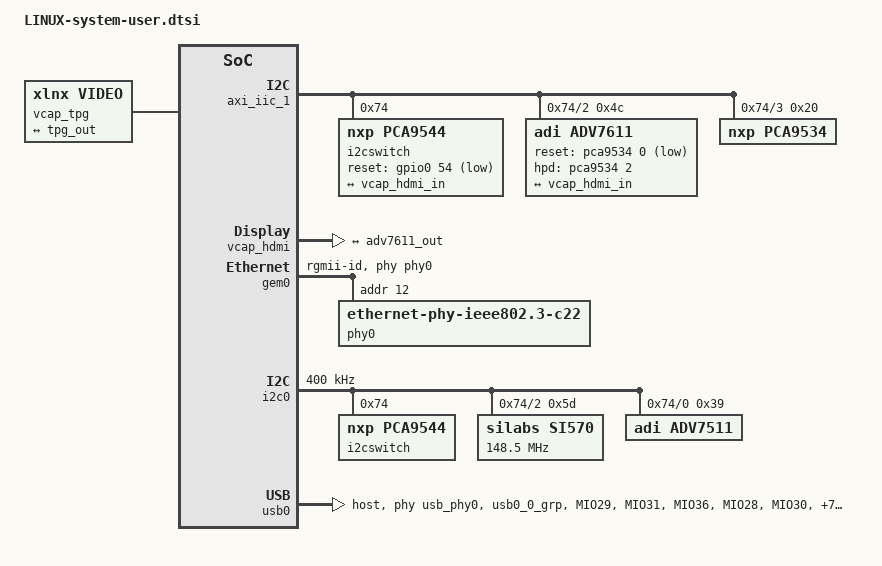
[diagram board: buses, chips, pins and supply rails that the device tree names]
/include/ "system-conf.dtsi"
/{

};

&gem0{
    status = "okay";
    phy-handle = <&phy0>;
    phy-mode = "rgmii-id";
    
    pinctrl-names = "default";
    phy-reset-gpio = <&gpio0 11 0>;
    phy-reset-active-low;
    phy0: phy@12 {
         compatible = "ethernet-phy-ieee802.3-c22";
         device_type = "ethernet-phy";
         reg = <12>;
         ti,rx-internal-delay = <0x8>; 
         ti,tx-internal-delay = <0xa>; 
         ti,fifo-depth = <0x01>; 
         ti,min-output-impedance;
         ti,dp83867-rxctrl-strap-quirk;
         status = "okay";
        };
    };



&i2c0 {
		status = "okay";
		clock-frequency = <400000>;

		i2cswitch@74 {
		compatible = "nxp,pca9544";
		#address-cells = <1>;
		#size-cells = <0>;
		reg = <0x74>;

		i2c@2{
			#address-cells = <1>;
			#size-cells = <0>;
			reg = <2>;
			si570: clock-generator@5d {
				#clock-cells = <0>;
				compatible = "silabs,si570";
				temperature-stability = <50>;
				reg = <0x5d>;
				factory-fout = <156250000>;
				clock-frequency = <148500000>;
			};
		};





		i2c@0 {
			#address-cells = <1>;
			#size-cells = <0>;
			reg = <0>;
			adv7511: hdmi-tx@39 {
				compatible = "adi,adv7511";
				reg = <0x39>;
				adi,input-depth = <12>;
				adi,input-colorspace = "yuv422";
				adi,input-clock = "1x";
				adi,input-style = <3>;
				adi,input-justification = "left";
				dma-request = <&logicvc_0>;
				edid-addr = <0x50>;
				video-input {
					input-id = <1>;
					input-style = <3>;
					input-color-depth = <12>;
					bit-justification = <2>;
					hsync-polarity = <1>;
					vsync-polarity = <1>;
					clock-delay = <3>;
				};
				video-output {
					hdmi-mode = <1>;
					output-format = <1>;
					output-color-space = <1>;
					//up-conversion = <0>;
					csc-enable = <1>;
					csc-scaling-factor = <2>;
					csc-coefficients {
						a1 = <0x0B37>;
						a2 = <0x0800>;
						a3 = <0x0000>;
						a4 = <0x1A86>;
						b1 = <0x1A49>;
						b2 = <0x0800>;
						b3 = <0x1D3F>;
						b4 = <0x0422>;
						c1 = <0x0000>;
						c2 = <0x0800>;
						c3 = <0x0E2D>;
						c4 = <0x1914>;
					};
				};
			};
		}; 



	};
};



/{				
usb_phy0:phy0@e0002000 {
	compatible = "ulpi-phy";
	#phy-cells = <0>;
	reg = <0xe0002000 0x1000>;
	view-port = <0x170>;
	drv-vbus;
	};
};

&gpio0 {
	pinctrl-names = "default";
	pinctrl-0 = <&pinctrl_gpio0_default>;
};


&pinctrl0 {
	
	pinctrl_gpio0_default: gpio0-default {
		mux {
			function = "gpio0";
			groups = "gpio0_7_grp", "gpio0_8_grp", "gpio0_9_grp",
				 "gpio0_10_grp", "gpio0_11_grp", "gpio0_12_grp",
				 "gpio0_13_grp", "gpio0_14_grp";
		};

		conf {
			groups = "gpio0_7_grp", "gpio0_8_grp", "gpio0_9_grp",
				 "gpio0_10_grp", "gpio0_11_grp", "gpio0_12_grp",
				 "gpio0_13_grp", "gpio0_14_grp";
			slew-rate = <0>;
			io-standard = <1>;
		};

		conf-pull-up {
			pins = "MIO9", "MIO10", "MIO11", "MIO12", "MIO13", "MIO14";
			bias-pull-up;
		};

		conf-pull-none {
			pins = "MIO7", "MIO8";
			bias-disable;
		};
	};

		pinctrl_usb0_default: usb0-default {
		mux {
			groups = "usb0_0_grp";
			function = "usb0";
		};

		conf {
			groups = "usb0_0_grp";
			slew-rate = <0>;
			io-standard = <1>;
		};

		conf-rx {
			pins = "MIO29", "MIO31", "MIO36";
			bias-high-impedance;
		};

		conf-tx {
			pins = "MIO28", "MIO30", "MIO32", "MIO33", "MIO34",
			       "MIO35", "MIO37", "MIO38", "MIO39";
			bias-disable;
		};
	};
};

&usb0{        
	dr_mode = "host";        
	usb-phy = <&usb_phy0>;	
	pinctrl-names = "default";
	pinctrl-0 = <&pinctrl_usb0_default>;
	};
 





/delete-node/ &tpg_input_v_tpg_1;
/delete-node/ &tpg_input_axi_vdma_3;
/delete-node/ &tpg_input_v_tc_1;
/delete-node/ &hdmi_output_logicvc_1;
/delete-node/ &fmc_hdmi_input_axi_vdma_1;
/include/ "/home/anish/zynq18.3usb/components/plnx_workspace/device-tree/device-tree/pl.dtsi"

/ {
	amba_pl:amba_pl{

        axi_iic_1:i2c@40040000  {
                        #address-cells = <1>;
			#size-cells = <0>;
			clock-names = "s_axi_aclk";
			clocks = <&misc_clk_0>;
			compatible = "xlnx,axi-iic-2.0", "xlnx,xps-iic-2.00.a";
			interrupt-names = "iic2intc_irpt";
			interrupt-parent = <&intc>;
			interrupts = <0 30 4>;
			reg = <0x40040000 0x10000>;
		        i2cswitch@74 {
		           compatible = "nxp,pca9544";
		           #address-cells = <1>;
		           #size-cells = <0>;
		           reg = <0x74>;
                           reset-gpios = <&gpio0 54 1>;

   
                            i2c@1 {
				#address-cells = <1>;
				#size-cells = <0>;
				reg = <2>;
                                adv7611:adv7611@4c {
				compatible = "adi,adv7611";
				reg = <0x4c>; 
                                reset-gpios = <&pca9534 0 1>;
				hpd-gpios = <&pca9534 2 0>;
				#address-cells = <0x1>;
				#size-cells = <0x0>;
				port@0 {
					reg = <0x0>;
				};

				port@1 {
					reg = <0x1>;
					adv7611_out: endpoint {
						remote-endpoint = <&vcap_hdmi_in>;
					};
				 };
			     };
		
                           };
 
                    i2c@3 {
				#address-cells = <1>;
				#size-cells = <0>;
				reg = <3>;
	
				pca9534: gpio@20 {
					compatible = "nxp,pca9534";
					reg = <0x20>;
					gpio-controller;
					#gpio-cells = <2>;
				      };
			       };
                        };
                 };


	tpg_input_v_tc_1: v_tc@40070000 {
			compatible = "xlnx,v-tc-6.1", "xlnx,v-tc-6.1";
			reg = <0x40070000 0x10000>;
			clocks = <&misc_clk_2>, <&misc_clk_0>;
			clock-names = "clk", "s_axi_aclk";
			xlnx,generator ;
		};

	tpg_input_v_tpg_1: v_tpg@40080000 {
			compatible ="xlnx,v-tpg-7.0", "xlnx,v-tpg-5.0";
			reg = <0x40080000 0x10000>;
			clocks = <&misc_clk_1>;
			clock-names = "ap_clk";
			xlnx,vtc = <&tpg_input_v_tc_1>;
			reset-gpios = <&gpio0 56 1>;
			xlnx,s-axi-ctrl-addr-width = <8>;
			xlnx,s-axi-ctrl-data-width = <32>;
			tpg_ports: ports {
				#address-cells = <1>;
				#size-cells = <0>;
			port@0 {
				reg = <0>;
				xlnx,video-format = <0>;
				xlnx,video-width = <8>;

				tpg_out: endpoint {
					remote-endpoint = <&vcap_tpg_in>;
						};
					};
				};
			};
	
		
	tpg_input_axi_vdma_3: dma@40020000 {
			compatible = "xlnx,axi-vdma-6.3", "xlnx,axi-vdma-1.00.a";
			#dma-cells = <1>;
			reg = <0x40020000 0x10000>;
			dma-ranges = <0x00000000 0x00000000 0x40000000>;
			xlnx,num-fstores = <0x1>;
			xlnx,flush-fsync = <0x1>;
			clocks = <&misc_clk_0>, <&misc_clk_1>, <&misc_clk_1>;
			clock-names = "s_axi_lite_aclk", "m_axi_s2mm_aclk", "s_axis_s2mm_aclk";
			interrupt-names = "s2mm_introut";
			interrupt-parent = <&intc>;
			interrupts = <0 33 4>;
			xlnx,addrwidth = <0x20>;
			dma-channel@40090000 {
				compatible = "xlnx,axi-vdma-s2mm-channel";
				interrupts = <0 33 4>;
				xlnx,datawidth = <0x10>;
				xlnx,device-id = <0x2>;
				xlnx,genlock-mode ;
			
						};
					};

	vcap_tpg {
		compatible = "xlnx,video";
		dmas = <&tpg_input_axi_vdma_3 1>;
		dma-names = "port0";

		ports {
			#address-cells = <1>;
			#size-cells = <0>;

			port@0 {
				reg = <0>;
				direction = "input";
				vcap_tpg_in: endpoint {
					remote-endpoint = <&tpg_out>;
									};
								};
							};			
						};  



fmc_hdmi_input_axi_vdma_1: dma@40090000 {
			#dma-cells = <1>;
			clock-names = "s_axi_lite_aclk", "m_axi_s2mm_aclk", "s_axis_s2mm_aclk";
			clocks = <&misc_clk_0>, <&misc_clk_1>, <&misc_clk_1>;
			compatible = "xlnx,axi-vdma-6.3", "xlnx,axi-vdma-1.00.a";
			interrupt-names = "s2mm_introut";
			interrupt-parent = <&intc>;
			interrupts = <0 32 4>;
			reg = <0x40090000 0x10000>;
			xlnx,addrwidth = <0x20>;
			xlnx,flush-fsync = <0x1>;
			xlnx,num-fstores = <0x1>;
			dma-channel@40090000 {
				compatible = "xlnx,axi-vdma-s2mm-channel";
				interrupts = <0 32 4>;
				xlnx,datawidth = <0x10>;
				xlnx,device-id = <0x0>;
				xlnx,genlock-mode ;
			};
		};
vcap_hdmi {
		compatible = "xlnx,video";
		dmas = <&fmc_hdmi_input_axi_vdma_1 1>;
		dma-names = "port0";

		ports {
			#address-cells = <1>;
			#size-cells = <0>;

			port@0 {
				reg = <0>;
				direction = "input";
				vcap_hdmi_in: endpoint {
					remote-endpoint = <&adv7611_out>;
				};
			};
		};
	};

cvc_fixed_clk_150: cvc_fixed_clk {
	compatible = "fixed-clock";
	#clock-cells = <0>;
	clock-frequency = <148500000>;
   };  
logicvc_0: logicvc@40030000 {
	compatible = "xylon,logicvc-5.00.a";
	// kern 2016.2 reg = <0x0 0x80030000 0x10000>;
	reg = <0x40030000 0x10000>;
	interrupt-parent = <&intc>;
	interrupts = <0 31 4>;
	//hsync-active-low;
	//vsync-active-low;
        background-layer-bits-per-pixel = <8>;
	background-layer-type = "rgb";
	color-space = <1>;
        interface = <0>;
	readable-regs;
	size-position;
	pixel-stride = <2048>;
	layer_0 {
		address = <0x30000000>;
		buffer-offset = <1080>;
		bits-per-pixel = <8>;
		type = "rgb";
		transparency = "clut32";
	};
	layer_1 {
		address = <0x31950000>;
		buffer-offset = <1080>;
		bits-per-pixel = <16>;
		type = "yuv";
		transparency = "layer";
	};
/*	layer_2 {
		address = <0x00000000>;
		buffer-offset = <1080>;
		bits-per-pixel = <32>;
		type = "rgb";
		transparency = "pixel";
	};    */

		display-timings {
			//native-mode = <&SXGA>;
			//native-mode = <&hd720p>;
			native-mode = <&hd1080p>;

		SXGA: 1280x1024 {
			clock-frequency = <108000000>;
			hactive = <1280>;
			vactive = <1024>;
			hfront-porch = <48>;
			hback-porch = <248>;
			hsync-len = <112>;
			vfront-porch = <1>;
			vback-porch = <38>;
			vsync-len = <3>;
		};

		hd720p: 1280x720 {
			clock-frequency = <74250000>;
			hactive = <1280>;
			vactive = <720>;
			hfront-porch = <110>;
			hback-porch = <220>;
			hsync-len = <40>;
			vfront-porch = <5>;
			vback-porch = <20>;
			vsync-len = <5>;
		};

		hd1080p: 1920x1080 {
			clock-frequency = <148500000>;
			hactive = <1920>;
			vactive = <1080>;
			hfront-porch = <88>;
			hback-porch = <148>;
			hsync-len = <44>;
			vfront-porch = <4>;
			vback-porch = <36>;
			vsync-len = <5>;
		};
	};
} ; // logicvc_0

xylon_fb0 {
	compatible = "xylon,fb-4.00.a";
	clocks = <&si570>;
	device = <&logicvc_0>;
        encoder = <&adv7511>;
	//video-mode = "1920x1080MR";
	//video-mode = "1280x1024";
        //video-mode = "800x600";
        //video-mode = "1366x768";
	console-layer = <1>;
	vsync-irq;
	edid-video-mode;
        edid-print;
	put-vscreeninfo-exact;
   reserved-memory {
      #address-cells = <1>;
      #size-cells = <1>;
      ranges;
  
      reserved: buffer@0 {
         compatible = "shared-dma-pool";
         device_type = "memory";
         no-map;
         reg = <0x0 0x1FFFFFFF>;
      };
   };
  
   reserved-driver@0 {
      compatible = "xlnx,reserved-memory";
      memory-region = <&reserved>;
   };
  


} ;

    };

};
